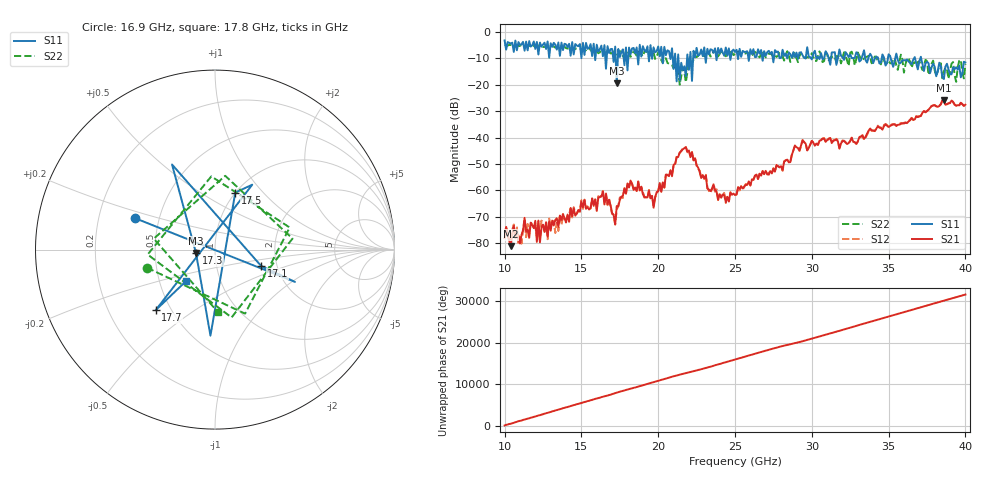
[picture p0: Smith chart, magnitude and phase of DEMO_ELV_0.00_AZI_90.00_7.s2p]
! 11/3/2026 12:37:53 PM
! C:\ANRITSUVNA\TEMP\TEMP.S2P
! CHANNEL.1
! TR.MEASUREMENT
! RAW.DATA
# HZ S RI R 50.0
! FREQ.HZ  S11RE  S11IM  S21RE  S21IM  S12RE  S12IM  S22RE  S22IM
!; PortSelection: Port_12
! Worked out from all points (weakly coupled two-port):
!   301 points, 10 GHz to 40 GHz, reference 50 ohm
!   highest |S21| = -25.78 dB at 38.6 GHz (marker M1); lowest = -81.2 dB at 10.4 GHz (marker M2)
!   lowest |S11| = -19.4 dB at 17.3 GHz (marker M3), VSWR 1.24, Z = 40.4 - j1.55 ohm
!   |S11| at or under -10 dB: 21.32 GHz to 21.88 GHz (565.8 MHz wide, 2.62 % of centre); 35.58 GHz to 36.65 GHz (1.072 GHz wide, 2.97 % of centre); 37.12 GHz to end of sweep (the widest 3 of 41)
!   |S22| runs from -20.0 to -4.7 dB; largest |S21 - S12| = 0.064
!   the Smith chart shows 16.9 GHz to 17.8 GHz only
!   S11 on the Smith chart (normalised r, x): 16.9 GHz: 0.37, +0.16; 17.1 GHz: 1.65, -0.32; 17.3 GHz: 0.81, -0.03; 17.5 GHz: 1.00, +0.72; 17.7 GHz: 0.41, -0.36; 17.8 GHz: 0.69, -0.25
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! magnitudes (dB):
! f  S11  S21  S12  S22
! 10 GHz  -3.2  -78.2  -75.9  -4.7
! 10.4 GHz  -4.3  -81.2  -78.9  -4.9
! 12.8 GHz  -3.5  -77.5  -78.6  -5.5
! 15 GHz  -9.9  -64.3  -63.8  -6.5
! 16.9 GHz  -6.4  -65.8  -66.6  -8.1
! 17.1 GHz  -11.3  -69.4  -69.3  -7.2
! 17.2 GHz  -5.5  -73.0  -72.9  -7.8
! 17.3 GHz  -19.4  -66.0  -67.4  -8.5
! 17.4 GHz  -6.4  -66.1  -66.0  -8.2
! 17.5 GHz  -9.4  -63.7  -62.8  -7.2
! 17.7 GHz  -6.5  -62.2  -62.9  -9.2
! 17.8 GHz  -12.6  -59.2  -59.8  -9.2
! 20 GHz  -5.4  -60.4  -60.2  -7.8
! 21.8 GHz  -16.7  -43.6  -43.7  -19.0
! 22.1 GHz  -7.5  -47.5  -47.0  -11.3
! 22.2 GHz  -18.5  -45.5  -45.6  -11.9
! 22.5 GHz  -6.0  -50.6  -50.8  -9.4
! 25 GHz  -7.5  -61.8  -61.6  -8.3
! 30 GHz  -10.3  -41.3  -41.3  -8.0
! 35 GHz  -8.4  -36.0  -35.9  -11.0
! 38.6 GHz  -17.8  -25.8  -25.8  -14.9
! 40 GHz  -11.5  -27.5  -27.5  -12.2
